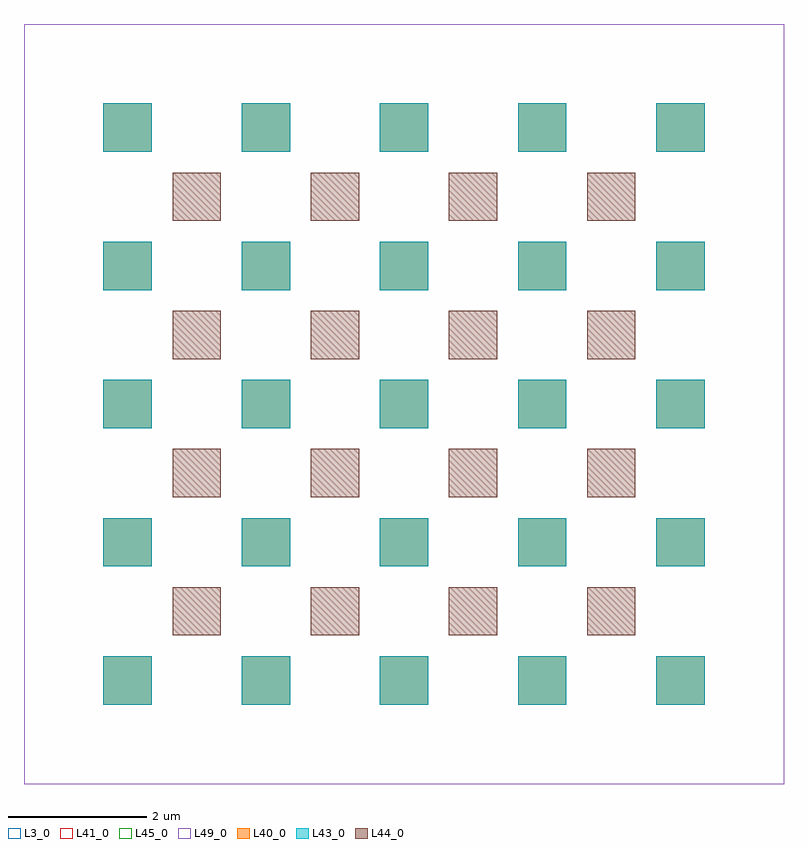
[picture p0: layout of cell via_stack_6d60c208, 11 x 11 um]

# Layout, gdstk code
import gdstk
lib = gdstk.Library(unit=1e-6, precision=1e-09)
def R(c, l, rs):  # rectangles x0, y0, x1, y1
    for r in rs: c.add(gdstk.rectangle(r[:2], r[2:], *l))
L3_0 = (3, 0)
L40_0 = (40, 0)
L41_0 = (41, 0)
L43_0 = (43, 0)
L44_0 = (44, 0)
L45_0 = (45, 0)
L49_0 = (49, 0)

compass_2db87694 = lib.new_cell('compass_2db87694')
R(compass_2db87694, L3_0, [(-5.5,-5.5,5.5,5.5)])

compass_64f4719d = lib.new_cell('compass_64f4719d')
R(compass_64f4719d, L41_0, [(-5.5,-5.5,5.5,5.5)])

compass_6419de30 = lib.new_cell('compass_6419de30')
R(compass_6419de30, L45_0, [(-5.5,-5.5,5.5,5.5)])

compass_807edd3d = lib.new_cell('compass_807edd3d')
R(compass_807edd3d, L49_0, [(-5.5,-5.5,5.5,5.5)])

via = lib.new_cell('via')
R(via, L40_0, [(-0.35,-0.35,0.35,0.35)])

via_enclosure2_layervia1 = lib.new_cell('via_enclosure2_layerVIA1')
R(via_enclosure2_layervia1, L44_0, [(-0.35,-0.35,0.35,0.35)])

via_layervia2 = lib.new_cell('via_layerVIA2')
R(via_layervia2, L43_0, [(-0.35,-0.35,0.35,0.35)])

via_stack_6d60c208 = lib.new_cell('via_stack_6d60c208')
via_stack_6d60c208.add(gdstk.Reference(compass_2db87694, (0,0)))
via_stack_6d60c208.add(gdstk.Reference(compass_64f4719d, (0,0)))
via_stack_6d60c208.add(gdstk.Reference(compass_6419de30, (0,0)))
via_stack_6d60c208.add(gdstk.Reference(compass_807edd3d, (0,0)))
r = gdstk.Reference(via, (-4,-4)); r.repetition = gdstk.Repetition(5, 5, v1=(2,0), v2=(0,2)); via_stack_6d60c208.add(r)
r = gdstk.Reference(via_enclosure2_layervia1, (-3,-3)); r.repetition = gdstk.Repetition(4, 4, v1=(2,0), v2=(0,2)); via_stack_6d60c208.add(r)
r = gdstk.Reference(via_layervia2, (-4,-4)); r.repetition = gdstk.Repetition(5, 5, v1=(2,0), v2=(0,2)); via_stack_6d60c208.add(r)

lib.write_gds('via_stack_6d60c208.gds')
